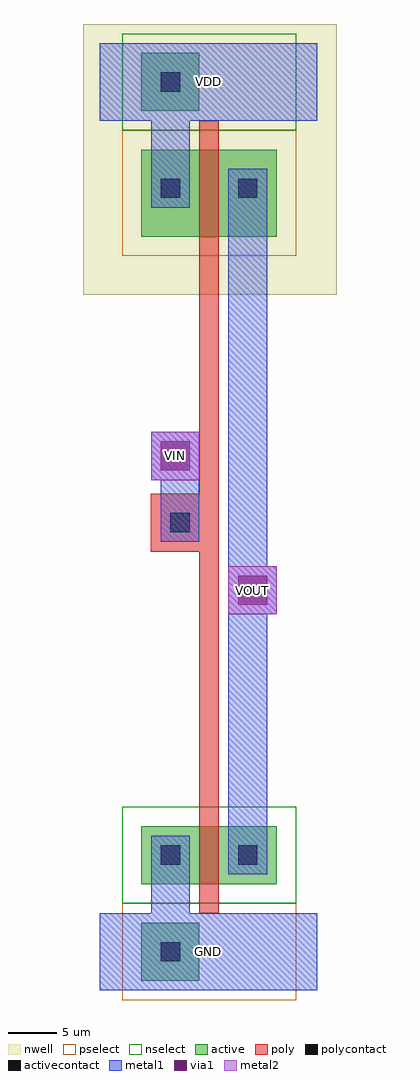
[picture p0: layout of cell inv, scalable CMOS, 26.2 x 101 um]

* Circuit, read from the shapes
.subckt inv GND VDD VIN VOUT
M1 VOUT VIN GND GND nfet w=6u l=2u
M2 VOUT VIN VDD VDD pfet w=9u l=2u
.ends

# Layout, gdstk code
import gdstk
lib = gdstk.Library(unit=1e-6, precision=1e-09)
def R(c, l, rs):  # rectangles x0, y0, x1, y1
    for r in rs: c.add(gdstk.rectangle(r[:2], r[2:], *l))
nwell = (42, 0)
active = (43, 0)
pselect = (44, 0)
nselect = (45, 0)
poly = (46, 0)
polycontact = (47, 0)
activecontact = (48, 0)
metal1 = (49, 0)
via1 = (50, 0)
metal2 = (51, 0)

inv = lib.new_cell('inv')
R(inv, nwell, [(23.3,75.2,49.5,103.2)])
R(inv, active, [(29.3,4.2,35.3,10.2), (29.3,14.2,43.3,20.2), (29.3,81.2,43.3,84.2), (29.3,84.2,43.3,90.2), (29.3,94.2,35.3,100.2)])
R(inv, pselect, [(27.3,2.2,45.3,12.2), (27.3,79.2,45.3,92.2)])
R(inv, nselect, [(27.3,12.2,45.3,22.2), (27.3,92.2,45.3,102.2)])
R(inv, poly, [(35.3,11.2,37.3,23.2), (30.25,48.6,36.25,54.6), (35.3,75.2,37.3,93.2)])
R(inv, polycontact, [(32.3,50.6,34.3,52.6)])
R(inv, activecontact, [(31.3,6.2,33.3,8.2), (31.3,16.2,33.3,18.2), (39.3,16.2,41.3,18.2), (31.3,85.2,33.3,87.2), (39.3,85.2,41.3,87.2), (31.3,96.2,33.3,98.2)])
R(inv, metal1, [(30.3,5.2,34.3,9.2), (30.3,15.2,34.3,19.2), (38.3,15.2,42.3,19.2), (38.3,42.1,43.3,47.1), (31.3,49.6,35.3,53.6), (30.3,56,35.3,61), (30.3,84.2,34.3,88.2), (38.3,84.2,42.3,88.2), (30.3,95.2,34.3,99.2)])
R(inv, via1, [(39.3,43.1,42.3,46.1), (31.3,57,34.3,60)])
R(inv, metal2, [(38.3,42.1,43.3,47.1), (30.3,56,35.3,61)])
inv.add(gdstk.FlexPath([(24.99,97.2),(47.49,97.2)], 8, ends="flush", simple_path=True, layer=49, datatype=0))  # metal1
inv.add(gdstk.FlexPath([(25,7.2),(47.5,7.2)], 8, ends="flush", simple_path=True, layer=49, datatype=0))  # metal1
inv.add(gdstk.FlexPath([(33.3,53.6),(33.3,56)], 4, ends="flush", simple_path=True, layer=49, datatype=0))  # metal1
inv.add(gdstk.FlexPath([(40.3,42.2),(40.3,19.2)], 4, ends="flush", simple_path=True, layer=49, datatype=0))  # metal1
inv.add(gdstk.FlexPath([(32.3,88.2),(32.3,95.2)], 4, ends="flush", simple_path=True, layer=49, datatype=0))  # metal1
inv.add(gdstk.FlexPath([(40.3,79.2),(40.3,84.2)], 4, ends="flush", simple_path=True, layer=49, datatype=0))  # metal1
inv.add(gdstk.FlexPath([(32.3,9.2),(32.3,15.2)], 4, ends="flush", simple_path=True, layer=49, datatype=0))  # metal1
inv.add(gdstk.FlexPath([(40.3,42.1),(40.3,79.6)], 4, ends="flush", simple_path=True, layer=49, datatype=0))  # metal1
inv.add(gdstk.FlexPath([(36.3,75.2),(36.3,60.2)], 2, ends="flush", simple_path=True, layer=46, datatype=0))  # poly
inv.add(gdstk.FlexPath([(36.3,23.1),(36.3,60.6)], 2, ends="flush", simple_path=True, layer=46, datatype=0))  # poly
inv.add(gdstk.Label('VOUT', (40.8,44.6), layer=51, texttype=0))
inv.add(gdstk.Label('VIN', (32.8,58.5), layer=51, texttype=0))
inv.add(gdstk.Label('VDD', (36.24,97.2), layer=49, texttype=0))
inv.add(gdstk.Label('GND', (36.25,7.2), layer=49, texttype=0))
inv.add(gdstk.Label('VIN', (32.8,58.5), layer=3, texttype=0))
inv.add(gdstk.Label('VOUT', (40.8,44.6), layer=3, texttype=0))

lib.write_gds('inv.gds')
